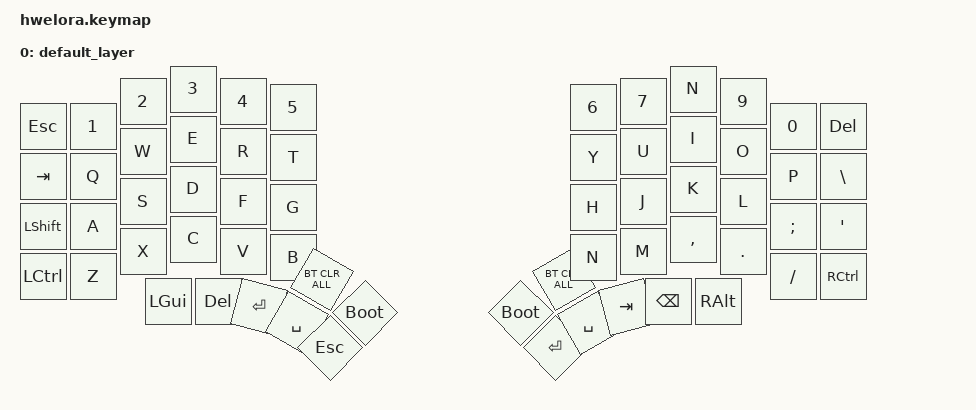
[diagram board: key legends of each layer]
#include <behaviors.dtsi>
#include <dt-bindings/zmk/keys.h>
#include <dt-bindings/zmk/bt.h>

/ {
    keymap {
        compatible = "zmk,keymap";

        default_layer {
// --------------------------------------------------------------------------------------------------------------------------------------------------------------------
// |   ESC   |    Q    |    W    |    E    |    R    |    T    |                                          |    Y    |    U    |    I    |    O    |    P    |    \    |
// |   TAB   |    A    |    S    |    D    |    F    |    G    |                                          |    H    |    J    |    K    |    L    |    ;    |    '    |
// |  SHIFT  |    Z    |    X    |    C    |    V    |    B    | CTRL+A  | CTRL+C  |  |  CTRL+V |  CTRL+X |    N    |    M    |    ,    |    .    |    /    |  R CTRL |
//                               |   GUI   |   DEL   | RETURN  |  SPACE  | ESCAPE  |  |  RETURN |  SPACE  |   TAB   |   BSPC  |  R ALT  |
            bindings = <
    &kp ESC    &kp N1   &kp N2   &kp N3    &kp N4    &kp N5                                                &kp N6    &kp N7    &kp N     &kp N9    &kp N0    &kp DEL
    &kp TAB    &kp Q    &kp W    &kp E     &kp R     &kp T                                                 &kp Y     &kp U     &kp I     &kp O     &kp P    &kp BSLH
    &kp LSHIFT &kp A    &kp S    &kp D     &kp F     &kp G                                                 &kp H     &kp J     &kp K     &kp L     &kp SEMI &kp SQT
    &kp LCTRL  &kp Z    &kp X    &kp C     &kp V     &kp B      &bt BT_CLR_ALL  &bootloader    &bootloader &bt BT_CLR_ALL &kp N     &kp M     &kp COMMA &kp DOT   &kp FSLH &kp RCTRL
                                 &kp LGUI  &kp DEL   &kp RET    &kp SPACE &kp ESC                &kp RET   &kp SPACE &kp TAB   &kp BSPC  &kp RALT
            >;
        };
    };
};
